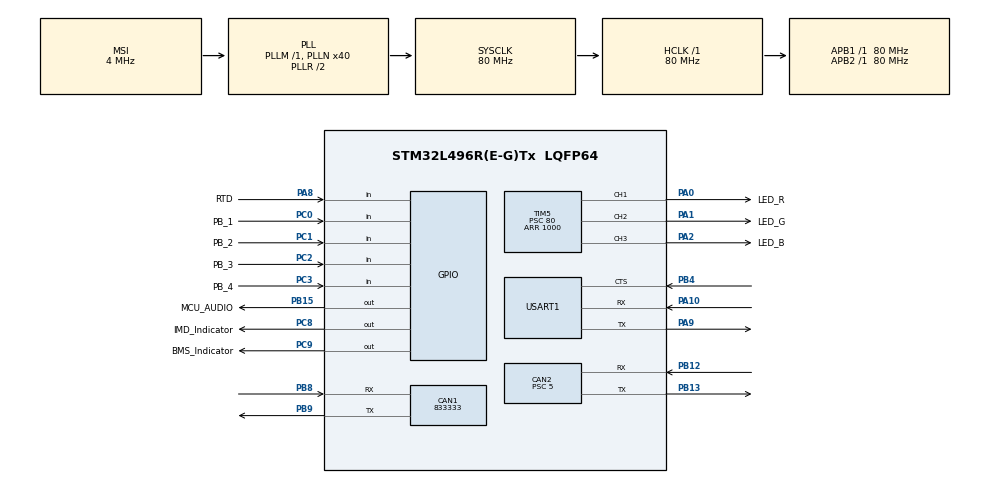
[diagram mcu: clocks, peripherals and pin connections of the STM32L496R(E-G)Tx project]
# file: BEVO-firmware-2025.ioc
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CAN1.BS2=CAN_BS2_4TQ
CAN1.CalculateBaudRate=833333
CAN1.CalculateTimeBit=1200
CAN1.CalculateTimeQuantum=200.0
CAN2.BS1=CAN_BS1_13TQ
CAN2.BS2=CAN_BS2_2TQ
CAN2.CalculateBaudRate=1000000
CAN2.CalculateTimeBit=1000
CAN2.CalculateTimeQuantum=62.5
CAN2.Prescaler=5
Mcu.Family=STM32L4
Mcu.Name=STM32L496R(E-G)Tx
Mcu.Package=LQFP64
NVIC.PriorityGroup=NVIC_PRIORITYGROUP_4
PA0.GPIO_Label=LED_R
PA0.GPIO_ModeDefaultPP=GPIO_MODE_AF_OD
PA0.GPIO_Speed=GPIO_SPEED_FREQ_VERY_HIGH
PA0.Signal=S_TIM5_CH1
PA1.GPIO_Label=LED_G
PA1.GPIO_ModeDefaultPP=GPIO_MODE_AF_OD
PA1.GPIO_Speed=GPIO_SPEED_FREQ_VERY_HIGH
PA1.Signal=S_TIM5_CH2
PA10.Mode=Asynchronous
PA10.Signal=USART1_RX
PA11.GPIO_Label=USB_DN
PA11.Signal=USB_OTG_FS_DM
PA12.GPIO_Label=USB_DP
PA12.Signal=USB_OTG_FS_DP
PA13\ (JTMS/SWDIO).Mode=Trace_Asynchronous_SW
PA13\ (JTMS/SWDIO).Signal=SYS_JTMS-SWDIO
PA14\ (JTCK/SWCLK).Mode=Trace_Asynchronous_SW
PA14\ (JTCK/SWCLK).Signal=SYS_JTCK-SWCLK
PA2.GPIO_Label=LED_B
PA2.GPIO_ModeDefaultPP=GPIO_MODE_AF_OD
PA2.GPIO_Speed=GPIO_SPEED_FREQ_VERY_HIGH
PA2.Signal=S_TIM5_CH3
PA4.Signal=SPI1_NSS
PA5.Signal=SPI1_SCK
PA6.Signal=SPI1_MISO
PA7.Signal=SPI1_MOSI
PA8.GPIO_Label=RTD
PA8.Signal=GPIO_Input
PA9.Mode=Asynchronous
PA9.Signal=USART1_TX
PB12.Mode=CAN_Activate
PB12.Signal=CAN2_RX
PB13.Mode=CAN_Activate
PB13.Signal=CAN2_TX
PB15.GPIO_Label=MCU_AUDIO
PB15.Signal=GPIO_Output
PB3\ (JTDO/TRACESWO).Mode=Trace_Asynchronous_SW
PB3\ (JTDO/TRACESWO).Signal=SYS_JTDO-SWO
PB4\ (NJTRST).Mode=CTS_Only
PB4\ (NJTRST).Signal=USART1_CTS
PB8.Mode=CAN_Activate
PB8.Signal=CAN1_RX
PB9.Mode=CAN_Activate
PB9.Signal=CAN1_TX
PC0.GPIO_Label=PB_1
PC0.Signal=GPIO_Input
PC1.GPIO_Label=PB_2
PC1.Signal=GPIO_Input
PC2.GPIO_Label=PB_3
PC2.Signal=GPIO_Input
PC3.GPIO_Label=PB_4
PC3.Signal=GPIO_Input
PC4.Signal=USART3_TX
PC5.Signal=USART3_RX
PC8.GPIO_Label=IMD_Indicator
PC8.Signal=GPIO_Output
PC9.GPIO_Label=BMS_Indicator
PC9.Signal=GPIO_Output
PH0-OSC_IN\ (PH0).Mode=HSE-External-Oscillator
PH0-OSC_IN\ (PH0).Signal=RCC_OSC_IN
PH1-OSC_OUT\ (PH1).Mode=HSE-External-Oscillator
PH1-OSC_OUT\ (PH1).Signal=RCC_OSC_OUT
ProjectManager.HeapSize=0x200
ProjectManager.StackSize=0x400
ProjectManager.TargetToolchain=STM32CubeIDE
RCC.ADCFreq_Value=16000000
RCC.AHBFreq_Value=80000000
RCC.APB1Freq_Value=80000000
RCC.APB1TimFreq_Value=80000000
RCC.APB2Freq_Value=80000000
RCC.APB2TimFreq_Value=80000000
RCC.CortexFreq_Value=80000000
RCC.HCLKFreq_Value=80000000
RCC.HSE_VALUE=16000000
RCC.HSI48_VALUE=48000000
RCC.HSI_VALUE=16000000
RCC.LSE_VALUE=32768
RCC.MSI_VALUE=4000000
RCC.PLLN=40
RCC.SYSCLKFreq_VALUE=80000000
RCC.SYSCLKSource=RCC_SYSCLKSOURCE_PLLCLK
RCC.USBFreq_Value=16000000
RCC.VCOOutputFreq_Value=160000000
SH.S_TIM5_CH1.0=TIM5_CH1,PWM Generation1 CH1
SH.S_TIM5_CH2.0=TIM5_CH2,PWM Generation2 CH2
SH.S_TIM5_CH3.0=TIM5_CH3,PWM Generation3 CH3
TIM5.AutoReloadPreload=TIM_AUTORELOAD_PRELOAD_ENABLE
TIM5.Channel-PWM\ Generation1\ CH1=TIM_CHANNEL_1
TIM5.Channel-PWM\ Generation2\ CH2=TIM_CHANNEL_2
TIM5.Channel-PWM\ Generation3\ CH3=TIM_CHANNEL_3
TIM5.OCFastMode_PWM-PWM\ Generation1\ CH1=TIM_OCFAST_ENABLE
TIM5.OCFastMode_PWM-PWM\ Generation2\ CH2=TIM_OCFAST_ENABLE
TIM5.OCFastMode_PWM-PWM\ Generation3\ CH3=TIM_OCFAST_ENABLE
TIM5.OCPolarity_1=TIM_OCPOLARITY_LOW
TIM5.OCPolarity_2=TIM_OCPOLARITY_LOW
TIM5.OCPolarity_3=TIM_OCPOLARITY_LOW
TIM5.Period=1000
TIM5.Prescaler=80
USART1.SwapParam=ADVFEATURE_SWAP_ENABLE
USART1.VirtualMode-Asynchronous=VM_ASYNC
board=custom

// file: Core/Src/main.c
/* USER CODE BEGIN Header */
/**
  ******************************************************************************
  * @file           : main.c
  * @brief          : Main program body
  ******************************************************************************
  * @attention
  *
  * Copyright (c) 2025 STMicroelectronics.
  * All rights reserved.
  *
  * This software is licensed under terms that can be found in the LICENSE file
  * in the root directory of this software component.
  * If no LICENSE file comes with this software, it is provided AS-IS.
  *
  ******************************************************************************
  */
/* USER CODE END Header */
#include "main.h"
#include "can.h"
#include "tim.h"
#include "usart.h"
#include "gpio.h"

/* USER CODE BEGIN Includes */
#include "led.h"
/* USER CODE END Includes */

void SystemClock_Config(void);
/* USER CODE BEGIN PFP */
void toggleLED(void);
void checkSwitch(void);
void readDriverInput(void);
/* USER CODE END PFP */

int main(void)
{

  /* USER CODE BEGIN 1 */
  HAL_Init();
  SystemClock_Config();
  MX_GPIO_Init();

  /* USER CODE END 1 */

  /* MCU Configuration--------------------------------------------------------*/

  /* Reset of all peripherals, Initializes the Flash interface and the Systick. */
  HAL_Init();

  /* Configure the system clock */
  SystemClock_Config();

  /* Initialize all configured peripherals */
  MX_GPIO_Init();
  MX_CAN2_Init();
  MX_CAN1_Init();
  MX_USART1_UART_Init();
  MX_TIM5_Init();
  /* USER CODE BEGIN 2 */
  pushButton_1 = 0;
  pushButton_2 = 0;
  pushButton_3 = 0;
  pushButton_4 = 0;
  RTD_value = 0;
  led_init();
  led_rainbow(3);
  /* USER CODE END 2 */

  /* Infinite loop */
  while (1)
  {
    readDriverInput();
    toggleLED();
    HAL_Delay(500);

  }
}

void SystemClock_Config(void)
{
  RCC_OscInitTypeDef RCC_OscInitStruct = {0};
  RCC_ClkInitTypeDef RCC_ClkInitStruct = {0};

  /** Configure the main internal regulator output voltage
  */
  if (HAL_PWREx_ControlVoltageScaling(PWR_REGULATOR_VOLTAGE_SCALE1) != HAL_OK)
  {
    Error_Handler();
  }

  /** Initializes the RCC Oscillators according to the specified parameters
  * in the RCC_OscInitTypeDef structure.
  */
  RCC_OscInitStruct.OscillatorType = RCC_OSCILLATORTYPE_MSI;
  RCC_OscInitStruct.MSIState = RCC_MSI_ON;
  RCC_OscInitStruct.MSICalibrationValue = 0;
  RCC_OscInitStruct.MSIClockRange = RCC_MSIRANGE_6;
  RCC_OscInitStruct.PLL.PLLState = RCC_PLL_ON;
  RCC_OscInitStruct.PLL.PLLSource = RCC_PLLSOURCE_MSI;
  RCC_OscInitStruct.PLL.PLLM = 1;
  RCC_OscInitStruct.PLL.PLLN = 40;
  RCC_OscInitStruct.PLL.PLLP = RCC_PLLP_DIV2;
  RCC_OscInitStruct.PLL.PLLQ = RCC_PLLQ_DIV2;
  RCC_OscInitStruct.PLL.PLLR = RCC_PLLR_DIV2;
  if (HAL_RCC_OscConfig(&RCC_OscInitStruct) != HAL_OK)
  {
    Error_Handler();
  }

  /** Initializes the CPU, AHB and APB buses clocks
  */
  RCC_ClkInitStruct.ClockType = RCC_CLOCKTYPE_HCLK|RCC_CLOCKTYPE_SYSCLK
                              |RCC_CLOCKTYPE_PCLK1|RCC_CLOCKTYPE_PCLK2;
  RCC_ClkInitStruct.SYSCLKSource = RCC_SYSCLKSOURCE_PLLCLK;
  RCC_ClkInitStruct.AHBCLKDivider = RCC_SYSCLK_DIV1;
  RCC_ClkInitStruct.APB1CLKDivider = RCC_HCLK_DIV1;
  RCC_ClkInitStruct.APB2CLKDivider = RCC_HCLK_DIV1;

  if (HAL_RCC_ClockConfig(&RCC_ClkInitStruct, FLASH_LATENCY_4) != HAL_OK)
  {
    Error_Handler();
  }
}

/* USER CODE BEGIN 4 */
void toggleLED(void) {
  HAL_GPIO_TogglePin(BMS_Indicator_GPIO_Port, BMS_Indicator_Pin);    //*inputs correct? thats just what clion suggested
  HAL_GPIO_TogglePin(IMD_Indicator_GPIO_Port, IMD_Indicator_Pin);
}

void readDriverInput(void) {

  if(HAL_GPIO_ReadPin(RTD_GPIO_Port, RTD_Pin) == GPIO_PIN_SET) {
    RTD_value = 1;
    led_set(255,192,203); // DEBUG - set LED to pink

  }
  else {
    RTD_value = 0;
  }

  if(HAL_GPIO_ReadPin(PB_1_GPIO_Port, PB_1_Pin) == GPIO_PIN_SET) {
    pushButton_1 = 1;
    led_set(0,255,0); // DEBUG - set LED to green

  }
  else {
    pushButton_1 = 0;
  }

  if(HAL_GPIO_ReadPin(PB_2_GPIO_Port, PB_2_Pin) == GPIO_PIN_SET) {
    pushButton_2 = 1;
    led_set(0,0,255); // DEBUG - set LED to blue

  }
  else {
    pushButton_2 = 0;
  }

  if(HAL_GPIO_ReadPin(PB_3_GPIO_Port, PB_3_Pin) == GPIO_PIN_SET) {
    pushButton_3 = 1;
    led_set(255,255,00); // DEBUG - set LED to yellow

  }
  else {
    pushButton_3 = 0;
  }

  if(HAL_GPIO_ReadPin(PB_4_GPIO_Port, PB_4_Pin) == GPIO_PIN_SET) {
    pushButton_4 = 1;
    led_set(80,00,80); // DEBUG - set LED to purple

  }
  else {
    pushButton_4 = 0;
  }

  // DEBUG - turn off LED if no buttons are pressed
  if(pushButton_1 == 0 && pushButton_2 == 0 && pushButton_3 == 0 && RTD_value == 0 && pushButton_4 == 0) {
    led_off();
}

/* USER CODE END 4 */

void Error_Handler(void)
{
  /* USER CODE BEGIN Error_Handler_Debug */
  /* User can add his own implementation to report the HAL error return state */
  __disable_irq();    //* should blink an LED or smth?
  while (1)
  {
  }
  /* USER CODE END Error_Handler_Debug */
}
